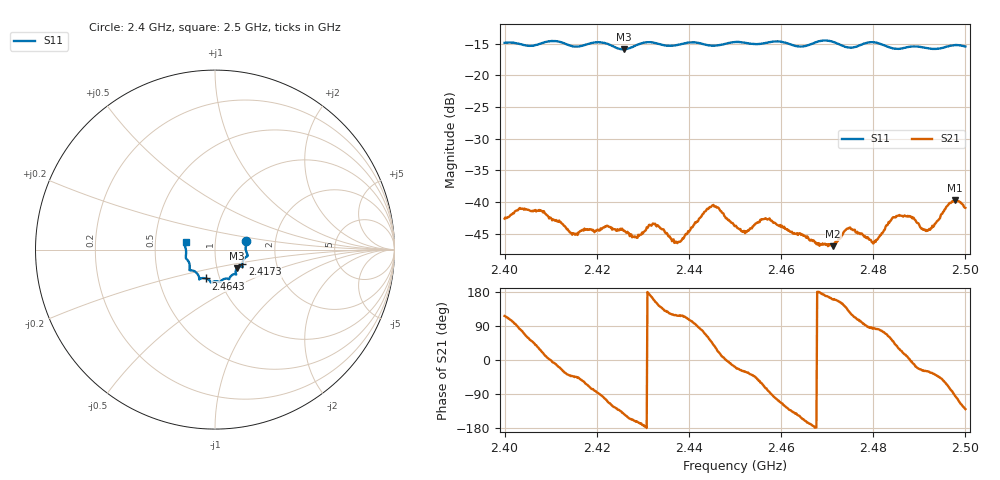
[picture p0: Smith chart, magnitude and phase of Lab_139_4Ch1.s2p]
# Hz S RI R 50
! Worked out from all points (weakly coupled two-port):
!   601 points, 2.4 GHz to 2.5 GHz, reference 50 ohm
!   highest |S21| = -39.74 dB at 2.4977 GHz (marker M1); lowest = -47.0 dB at 2.4713 GHz (marker M2)
!   lowest |S11| = -15.9 dB at 2.4258 GHz (marker M3), VSWR 1.38, Z = 62.3 - j13.3 ohm
!   |S11| at or under -10 dB: start of sweep to end of sweep
!   S12 and S22 are empty: the file has one direction only
!   S11 on the Smith chart (normalised r, x): 2.4 GHz: 1.41, +0.14; 2.4173 GHz: 1.34, -0.23; 2.4643 GHz: 0.86, -0.29; 2.5 GHz: 0.72, +0.06
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2.4e9  0.1735 0.0496  -0.00327 0.00664  0 0  0 0
2.407667e9  0.1763 -0.0176  0.00759 0.00392  0 0  0 0
2.416667e9  0.1531 -0.0746  0.00363 -0.00468  0 0  0 0
2.417333e9  0.1521 -0.082  0.0032 -0.00528  0 0  0 0
2.425833e9  0.1219 -0.1037  -0.00466 -0.00365  0 0  0 0
2.428333e9  0.1152 -0.1267  -0.00507 -0.00174  0 0  0 0
2.433333e9  0.1126 -0.1368  -0.00534 0.00371  0 0  0 0
2.437833e9  0.0835 -0.1533  -0.00223 0.00432  0 0  0 0
2.445333e9  0.0529 -0.1627  0.0073 0.00608  0 0  0 0
2.45e9  0.0291 -0.1808  0.00613 -0.002  0 0  0 0
2.4525e9  0.0201 -0.1785  0.00489 -0.0031  0 0  0 0
2.457e9  -0.0134 -0.1805  0.00143 -0.00714  0 0  0 0
2.464333e9  -0.05 -0.1609  -0.00487 -0.00257  0 0  0 0
2.466667e9  -0.0761 -0.1598  -0.00496 -0.000757  0 0  0 0
2.471333e9  -0.0873 -0.1612  -0.0042 0.00158  0 0  0 0
2.474833e9  -0.1049 -0.1278  -0.00377 0.00503  0 0  0 0
2.480167e9  -0.1428 -0.113  0.000548 0.00476  0 0  0 0
2.483333e9  -0.1406 -0.0899  0.00324 0.00616  0 0  0 0
2.487833e9  -0.1596 -0.052  0.00775 0.000394  0 0  0 0
2.491833e9  -0.1613 -0.0269  0.00519 -0.00294  0 0  0 0
2.497667e9  -0.1704 0.0302  -0.000569 -0.0103  0 0  0 0
2.5e9  -0.1635 0.042  -0.00573 -0.00694  0 0  0 0
